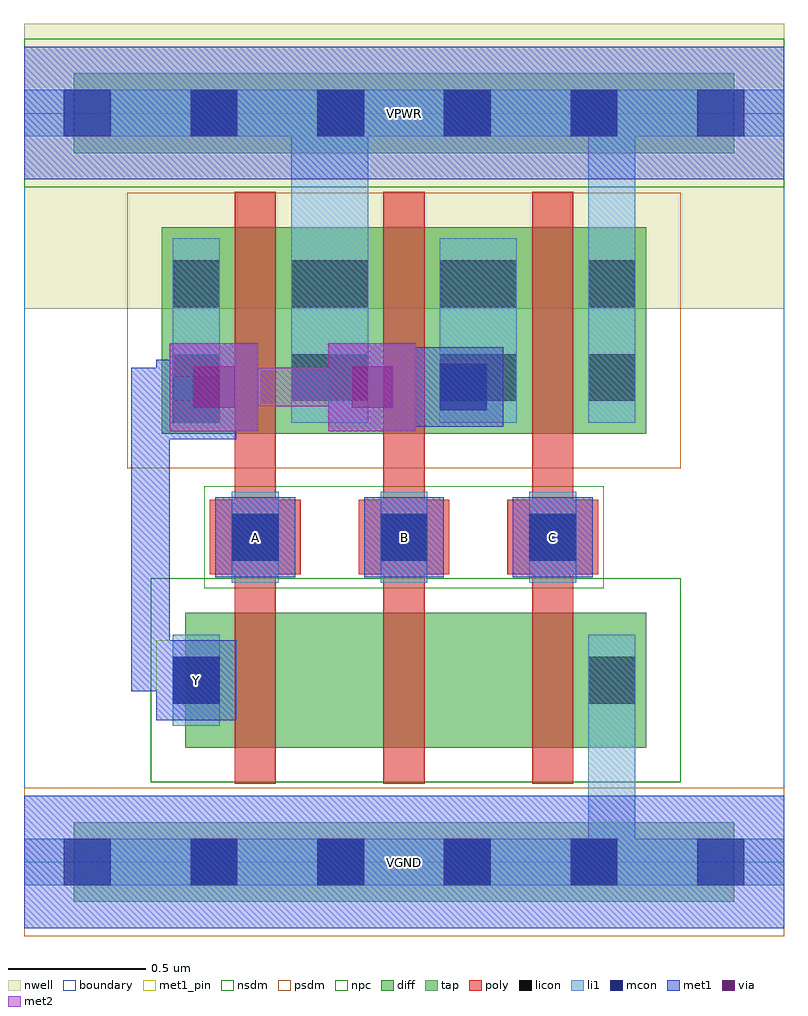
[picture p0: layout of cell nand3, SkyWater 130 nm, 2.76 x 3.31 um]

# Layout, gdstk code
import gdstk
lib = gdstk.Library(unit=1e-6, precision=1e-09)
def R(c, l, rs):  # rectangles x0, y0, x1, y1
    for r in rs: c.add(gdstk.rectangle(r[:2], r[2:], *l))
def A(c, l, x, y, w, h, nx, ny, dx, dy):  # array of equal rectangles
    R(c, l, [(x+i*dx, y+j*dy, x+i*dx+w, y+j*dy+h) for i in range(nx) for j in range(ny)])
nwell = (64, 20)
diff = (65, 20)
tap = (65, 44)
poly = (66, 20)
licon = (66, 44)
li1 = (67, 20)
mcon = (67, 44)
met1_pin = (68, 16)
met1 = (68, 20)
via = (68, 44)
met2 = (69, 20)
nsdm = (93, 44)
psdm = (94, 20)
npc = (95, 20)
boundary = (235, 4)

nand3 = lib.new_cell('nand3')
R(nand3, nwell, [(0,2.01,2.76,3.045)])
A(nand3, diff, 0.5, 1.555, 0.68, 0.75, 3, 1, 0.54, 0)
R(nand3, diff, [(0.585,0.415,2.26,0.905)])
R(nand3, tap, [(0.18,-0.145,2.58,0.145), (0.18,2.575,2.58,2.865)])
A(nand3, poly, 0.765, 0.285, 0.15, 2.15, 3, 1, 0.54, 0)
A(nand3, poly, 0.675, 1.045, 0.33, 0.27, 3, 1, 0.54, 0)
A(nand3, licon, 0.605, -0.085, 0.17, 0.17, 4, 2, 0.46, 2.72)
A(nand3, licon, 0.755, 1.095, 0.17, 0.17, 3, 1, 0.54, 0)
R(nand3, licon, [(0.54,0.575,0.71,0.745), (2.05,0.575,2.22,0.745), (0.54,1.675,0.71,1.845), (0.97,1.675,1.14,1.845), (1.08,1.675,1.25,1.845), (1.51,1.675,1.68,1.845), (1.62,1.675,1.79,1.845), (2.05,1.675,2.22,1.845), (0.54,2.015,0.71,2.185), (0.97,2.015,1.14,2.185), (1.08,2.015,1.25,2.185), (1.51,2.015,1.68,2.185), (1.62,2.015,1.79,2.185), (2.05,2.015,2.22,2.185)])
A(nand3, li1, 0.755, 1.015, 0.17, 0.33, 3, 1, 0.54, 0)
R(nand3, li1, [(0,-0.085,2.76,0.085), (2.05,-0.085,2.22,0.825), (0.54,0.495,0.71,0.825), (2.05,0.495,2.22,0.825), (0.54,1.595,0.71,2.265), (0.97,1.595,1.14,2.265), (0.97,1.595,1.14,2.805), (1.08,1.595,1.25,2.265), (1.08,1.595,1.25,2.805), (1.51,1.595,1.68,2.265), (1.62,1.595,1.79,2.265), (2.05,1.595,2.22,2.265), (2.05,1.595,2.22,2.805), (0,2.635,2.76,2.805)])
A(nand3, mcon, 0.145, -0.085, 0.17, 0.17, 6, 2, 0.46, 2.72)
A(nand3, mcon, 0.755, 1.095, 0.17, 0.17, 3, 1, 0.54, 0)
R(nand3, mcon, [(0.54,0.575,0.71,0.745), (0.54,1.595,0.71,1.765), (1.51,1.64,1.68,1.81)])
A(nand3, met1_pin, 0.695, 1.035, 0.29, 0.29, 3, 1, 0.54, 0)
R(nand3, met1_pin, [(0,-0.24,2.76,0.24), (0.48,0.515,0.77,0.805), (0,2.48,2.76,2.96)])
A(nand3, met1, 0.695, 1.035, 0.29, 0.29, 3, 1, 0.54, 0)
R(nand3, met1, [(0,-0.24,2.76,0.24), (0.48,0.515,0.77,0.805), (0.39,0.62,0.645,0.76), (0.39,0.62,0.53,1.565), (0.505,0.62,0.645,0.76), (0.39,1.425,0.53,1.75), (0.39,1.425,0.53,1.795), (0.48,1.535,0.77,1.825), (0.53,1.565,0.85,1.885), (1.105,1.565,1.425,1.885), (1.425,1.58,1.45,1.87), (1.45,1.58,1.74,1.87), (0.39,1.61,0.695,1.75), (0.39,1.655,0.76,1.795), (1.195,1.655,1.565,1.795), (1.425,1.655,1.665,1.795), (0,2.48,2.76,2.96)])
R(nand3, via, [(0.615,1.65,0.765,1.8), (1.19,1.65,1.34,1.8)])
R(nand3, met2, [(0.53,1.565,0.85,1.885), (1.105,1.565,1.425,1.885), (0.62,1.655,1.335,1.795)])
R(nand3, nsdm, [(0.46,0.29,2.385,1.03), (0,2.45,2.76,2.99)])
R(nand3, psdm, [(0,-0.27,2.76,0.27), (0.375,1.43,2.385,2.43)])
R(nand3, npc, [(0.655,0.995,2.105,1.365)])
R(nand3, boundary, [(0,0,2.76,2.72)])
nand3.add(gdstk.Label('A', (0.84,1.18), layer=68, texttype=5))
nand3.add(gdstk.Label('B', (1.38,1.18), layer=68, texttype=5))
nand3.add(gdstk.Label('C', (1.92,1.18), layer=68, texttype=5))
nand3.add(gdstk.Label('Y', (0.625,0.66), layer=68, texttype=5))
nand3.add(gdstk.Label('VPWR', (1.38,2.72), layer=68, texttype=5))
nand3.add(gdstk.Label('VGND', (1.38,0), layer=68, texttype=5))
nand3.add(gdstk.Label('A', (0.84,1.18), layer=68, texttype=16))
nand3.add(gdstk.Label('B', (1.38,1.18), layer=68, texttype=16))
nand3.add(gdstk.Label('C', (1.92,1.18), layer=68, texttype=16))
nand3.add(gdstk.Label('Y', (0.625,0.66), layer=68, texttype=16))
nand3.add(gdstk.Label('VPWR', (1.38,2.72), layer=68, texttype=16))
nand3.add(gdstk.Label('VGND', (1.38,0), layer=68, texttype=16))

lib.write_gds('nand3.gds')
